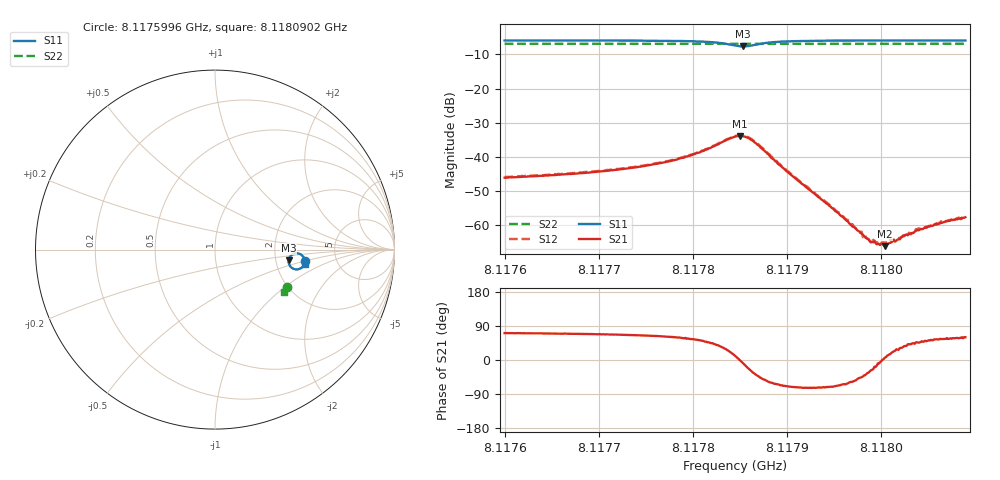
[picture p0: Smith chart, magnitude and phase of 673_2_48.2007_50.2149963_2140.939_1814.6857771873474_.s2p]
#  HZ  S  RI  R  50.00
! Rohde & Schwarz Vector Network Analyzer
! Rohde-Schwarz,ZNB20-2Port,1311601062101988,3.16
! Created: UTC 3/20/2024, 12:06:13 PM
! freq[Hz]  re:S11  im:S11  re:S21  im:S21  re:S12  im:S12  re:S22  im:S22
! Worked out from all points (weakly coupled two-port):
!   401 points, 8.1175996 GHz to 8.1180902 GHz, reference 50 ohm
!   highest |S21| = -33.88 dB at 8.1178498 GHz (marker M1); lowest = -66.2 dB at 8.1180044 GHz (marker M2)
!   lowest |S11| = -7.6 dB at 8.1178535 GHz (marker M3), VSWR 2.42, Z = 118 - j17 ohm
!   |S11| at or under -10 dB: nowhere
!   |S22| runs from -7.0 to -6.9 dB; largest |S21 - S12| = 0.00074
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8.11759956e9  0.5027 -0.0631  0.00161 0.00467  0.00167 0.00479  0.4023 -0.2079
8.11768175e9  0.5004 -0.0731  0.0021 0.00539  0.00215 0.0055  0.3997 -0.2132
8.11772591e9  0.498 -0.0801  0.00264 0.0061  0.00272 0.00619  0.3983 -0.2162
8.11776393e9  0.4939 -0.0883  0.00365 0.00714  0.00375 0.00725  0.3969 -0.2187
8.11780073e9  0.4825 -0.1011  0.00632 0.00896  0.00637 0.00901  0.3951 -0.2211
8.11784489e9  0.4175 -0.0907  0.0194 0.0038  0.0198 0.00398  0.3911 -0.2227
8.1178498e9  0.4107 -0.0743  0.0202 7.56e-05  0.0206 0.000343  0.3907 -0.2221
8.11785348e9  0.4102 -0.0599  0.0198 -0.003  0.0204 -0.00289  0.3909 -0.2217
8.11786697e9  0.4393 -0.0234  0.0124 -0.00988  0.0129 -0.0101  0.3921 -0.2213
8.11788905e9  0.4816 -0.0294  0.00375 -0.0076  0.00383 -0.00784  0.3933 -0.2234
8.11792708e9  0.4978 -0.0514  0.000866 -0.00293  0.000902 -0.00305  0.3925 -0.2268
8.11795774e9  0.5001 -0.0613  0.000568 -0.00124  0.000589 -0.00132  0.3917 -0.229
8.1179835e9  0.5007 -0.067  0.000509 -0.000421  0.000538 -0.000462  0.3907 -0.2309
8.11798964e9  0.5006 -0.0681  0.000494 -0.000254  0.000546 -0.000299  0.3904 -0.2312
8.117997e9  0.5008 -0.0695  0.00052 -7.94e-05  0.000531 -0.000128  0.3902 -0.2317
8.11800436e9  0.5007 -0.0707  0.000489 5.12e-05  0.000546 8.5e-05  0.3899 -0.2322
8.11800926e9  0.5007 -0.0715  0.000529 0.000136  0.000556 0.00014  0.3898 -0.2325
8.11801662e9  0.5007 -0.0727  0.000521 0.000281  0.000562 0.00023  0.3894 -0.2331
8.11802521e9  0.5007 -0.074  0.000554 0.000414  0.000544 0.00045  0.3893 -0.2335
8.11804851e9  0.5004 -0.0771  0.000593 0.000694  0.000592 0.000745  0.3883 -0.2348
8.11806446e9  0.5003 -0.0792  0.000627 0.000899  0.000643 0.000941  0.388 -0.236
8.11809022e9  0.5 -0.082  0.000649 0.00113  0.000686 0.00112  0.387 -0.2376
